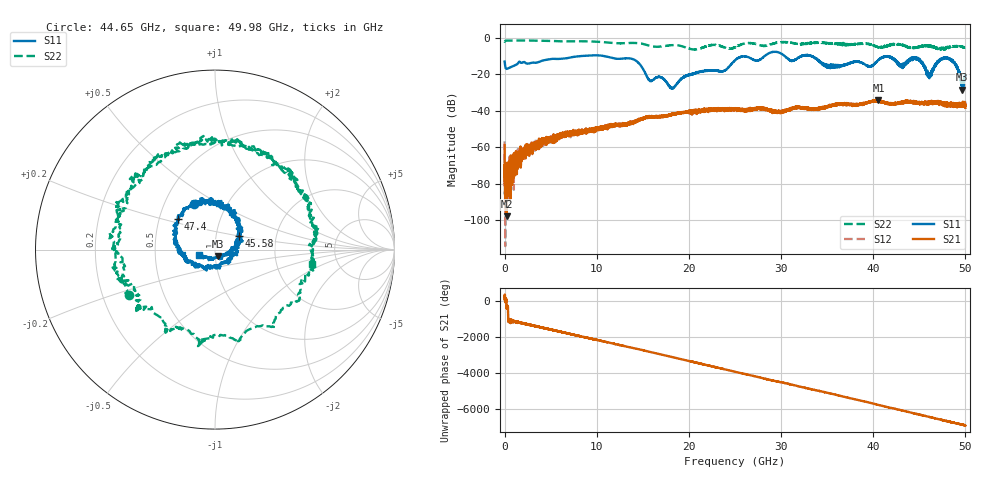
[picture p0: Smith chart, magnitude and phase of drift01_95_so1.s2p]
!Created with skrf (http://scikit-rf.org).
# Hz S RI R 50.0
!freq ReS11 ImS11 ReS21 ImS21 ReS12 ImS12 ReS22 ImS22
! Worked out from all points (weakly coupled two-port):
!   10001 points, 300 kHz to 50 GHz, reference 50 ohm
!   highest |S21| = -34.05 dB at 40.56 GHz (marker M1); lowest = -97.7 dB at 235.3 MHz (marker M2)
!   lowest |S11| = -28.3 dB at 49.67 GHz (marker M3), VSWR 1.08, Z = 51.5 - j3.61 ohm
!   |S11| at or under -10 dB: start of sweep to 8.085 GHz; 10.9 GHz to 25.98 GHz (15.08 GHz wide, 81.8 % of centre); 41.57 GHz to end of sweep (the widest 3 of 16)
!   |S22| runs from -6.5 to -1.4 dB; largest |S21 - S12| = 0.0039
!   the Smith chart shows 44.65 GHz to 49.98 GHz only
!   S11 on the Smith chart (normalised r, x): 44.65 GHz: 0.70, +0.39; 45.58 GHz: 1.29, +0.20; 47.4 GHz: 0.62, +0.23; 49.98 GHz: 0.84, -0.05
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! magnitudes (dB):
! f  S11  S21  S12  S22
! 300 kHz  -13.0  -58.7  -56.6  -2.0
! 235.3 MHz  -16.9  -97.7  -80.6  -1.4
! 2.97 GHz  -13.5  -60.5  -61.9  -1.4
! 8.335 GHz  -9.9  -51.1  -51.0  -1.8
! 13.8 GHz  -11.4  -46.6  -46.0  -2.7
! 15.75 GHz  -23.4  -43.2  -43.1  -4.2
! 16.67 GHz  -21.3  -43.3  -43.2  -4.8
! 18.22 GHz  -27.3  -41.4  -41.7  -3.9
! 25 GHz  -12.2  -39.5  -38.9  -5.1
! 33.34 GHz  -10.0  -38.5  -38.9  -2.7
! 35.23 GHz  -15.0  -37.2  -37.4  -2.9
! 40.56 GHz  -12.0  -34.0  -34.6  -5.1
! 41.67 GHz  -10.3  -35.8  -36.1  -4.3
! 43.08 GHz  -14.9  -35.3  -35.1  -3.8
! 44.65 GHz  -11.1  -35.1  -35.1  -5.3
! 45.58 GHz  -16.2  -36.3  -35.3  -4.1
! 46.15 GHz  -21.2  -35.4  -35.6  -4.4
! 47.4 GHz  -11.4  -36.1  -35.6  -5.3
! 48.74 GHz  -13.3  -37.2  -36.6  -4.5
! 49.67 GHz  -28.3  -36.7  -36.6  -4.8
! 49.98 GHz  -20.7  -36.5  -36.5  -5.3
! 50 GHz  -21.0  -38.3  -36.8  -5.3
